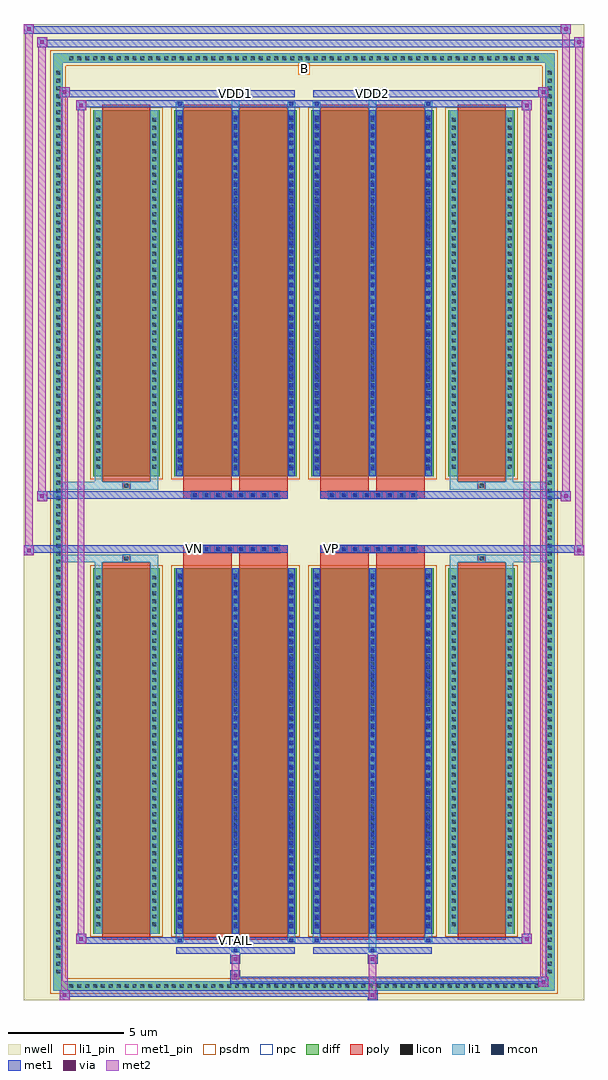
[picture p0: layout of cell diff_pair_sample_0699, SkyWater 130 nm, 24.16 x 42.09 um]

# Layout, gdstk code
import gdstk
lib = gdstk.Library(unit=1e-6, precision=5e-09)
def R(c, l, rs):  # rectangles x0, y0, x1, y1
    for r in rs: c.add(gdstk.rectangle(r[:2], r[2:], *l))
def A(c, l, x, y, w, h, nx, ny, dx, dy):  # array of equal rectangles
    R(c, l, [(x+i*dx, y+j*dy, x+i*dx+w, y+j*dy+h) for i in range(nx) for j in range(ny)])
def P(c, l, *ps):  # polygons
    for p in ps: c.add(gdstk.Polygon(p, *l))
nwell = (64, 20)
diff = (65, 20)
poly = (66, 20)
licon = (66, 44)
li1_pin = (67, 16)
li1 = (67, 20)
mcon = (67, 44)
met1_pin = (68, 16)
met1 = (68, 20)
via = (68, 44)
met2 = (69, 20)
psdm = (94, 20)
npc = (95, 20)

diff_pair_sample_0699 = lib.new_cell('diff_pair_sample_0699')
R(diff_pair_sample_0699, nwell, [(-12.08,-20.61,12.08,21.48), (-9.4,-18.8,-0.01,-0.8), (0.01,-18.8,9.4,-0.8), (-9.4,0.8,-0.01,18.8), (0.01,0.8,9.4,18.8)])
A(diff_pair_sample_0699, diff, -10.235, -20.21, 0.41, 0.41, 60, 2, 0.34, 40.01)
A(diff_pair_sample_0699, diff, -10.81, -19.585, 0.41, 0.41, 1, 115, 0, 0.34)
A(diff_pair_sample_0699, diff, 10.4, -19.585, 0.41, 0.41, 1, 115, 0, 0.34)
R(diff_pair_sample_0699, diff, [(-10.235,-20.21,10.235,-19.8), (-10.81,-19.585,-10.4,19.585), (10.4,-19.585,10.81,19.585), (-9.09,-17.755,-6.23,-1.985), (-5.59,-17.755,-0.32,-1.985), (0.32,-17.755,5.59,-1.985), (6.23,-17.755,9.09,-1.985), (-9.09,1.985,-6.23,17.755), (-5.59,1.985,-0.32,17.755), (0.32,1.985,5.59,17.755), (6.23,1.985,9.09,17.755), (-10.235,19.8,10.235,20.21)])
P(diff_pair_sample_0699, diff, [(10.81,20.21),(-10.81,20.21),(-10.81,-19.8),(-10.4,-19.8),(-10.4,19.8),(10.4,19.8),(10.4,-19.8),(-10.4,-19.8),(-10.81,-19.8),(-10.81,-20.21),(10.81,-20.21)])
A(diff_pair_sample_0699, poly, -4.87, -1.33, 0.33, 0.33, 8, 2, 0.5, 2.33)
A(diff_pair_sample_0699, poly, 1.04, -1.33, 0.33, 0.33, 8, 2, 0.5, 2.33)
R(diff_pair_sample_0699, poly, [(-8.7,-18.005,-6.62,-1.735), (-5.2,-18.005,-3.12,-1.735), (-2.79,-18.005,-0.71,-1.735), (0.71,-18.005,2.79,-1.735), (3.12,-18.005,5.2,-1.735), (6.62,-18.005,8.7,-1.735), (-7.825,-1.735,-7.495,-1.405), (-7.825,-1.735,-7.495,-1.405), (-5.2,-1.735,-3.12,-1.33), (-2.79,-1.735,-0.71,-1.33), (0.71,-1.735,2.79,-1.33), (3.12,-1.735,5.2,-1.33), (7.495,-1.735,7.825,-1.405), (7.495,-1.735,7.825,-1.405), (-5.2,-1.33,-0.71,-1), (0.71,-1.33,5.2,-1), (-5.2,1,-0.71,1.33), (0.71,1,5.2,1.33), (-5.2,1.33,-3.12,1.735), (-2.79,1.33,-0.71,1.735), (0.71,1.33,2.79,1.735), (3.12,1.33,5.2,1.735), (-7.825,1.405,-7.495,1.735), (-7.825,1.405,-7.495,1.735), (7.495,1.405,7.825,1.735), (7.495,1.405,7.825,1.735), (-8.7,1.735,-6.62,18.005), (-5.2,1.735,-3.12,18.005), (-2.79,1.735,-0.71,18.005), (0.71,1.735,2.79,18.005), (3.12,1.735,5.2,18.005), (6.62,1.735,8.7,18.005)])
A(diff_pair_sample_0699, licon, -10.115, -20.09, 0.17, 0.17, 60, 2, 0.34, 40.01)
A(diff_pair_sample_0699, licon, -10.69, -19.465, 0.17, 0.17, 1, 115, 0, 0.34)
A(diff_pair_sample_0699, licon, 10.52, -19.465, 0.17, 0.17, 1, 115, 0, 0.34)
A(diff_pair_sample_0699, licon, -8.95, -17.435, 0.17, 0.17, 1, 45, 0, 0.34)
A(diff_pair_sample_0699, licon, -6.54, -17.435, 0.17, 0.17, 1, 45, 0, 0.34)
A(diff_pair_sample_0699, licon, -5.45, -17.435, 0.17, 0.17, 3, 45, 2.41, 0.34)
A(diff_pair_sample_0699, licon, 0.46, -17.435, 0.17, 0.17, 3, 45, 2.41, 0.34)
A(diff_pair_sample_0699, licon, 6.37, -17.435, 0.17, 0.17, 1, 45, 0, 0.34)
A(diff_pair_sample_0699, licon, 8.78, -17.435, 0.17, 0.17, 1, 45, 0, 0.34)
A(diff_pair_sample_0699, licon, -4.79, -1.25, 0.17, 0.17, 8, 2, 0.5, 2.33)
A(diff_pair_sample_0699, licon, 1.12, -1.25, 0.17, 0.17, 8, 2, 0.5, 2.33)
A(diff_pair_sample_0699, licon, -8.95, 2.305, 0.17, 0.17, 1, 45, 0, 0.34)
A(diff_pair_sample_0699, licon, -6.54, 2.305, 0.17, 0.17, 1, 45, 0, 0.34)
A(diff_pair_sample_0699, licon, -5.45, 2.305, 0.17, 0.17, 3, 45, 2.41, 0.34)
A(diff_pair_sample_0699, licon, 0.46, 2.305, 0.17, 0.17, 3, 45, 2.41, 0.34)
A(diff_pair_sample_0699, licon, 6.37, 2.305, 0.17, 0.17, 1, 45, 0, 0.34)
A(diff_pair_sample_0699, licon, 8.78, 2.305, 0.17, 0.17, 1, 45, 0, 0.34)
R(diff_pair_sample_0699, licon, [(-7.745,-1.655,-7.575,-1.485), (7.575,-1.655,7.745,-1.485), (-7.745,1.485,-7.575,1.655), (7.575,1.485,7.745,1.655)])
R(diff_pair_sample_0699, li1_pin, [(-0.25,19.3,0.25,19.8)])
A(diff_pair_sample_0699, li1, -10.195, -20.17, 0.33, 0.33, 60, 2, 0.34, 40.01)
A(diff_pair_sample_0699, li1, -10.77, -19.545, 0.33, 0.33, 1, 115, 0, 0.34)
A(diff_pair_sample_0699, li1, 10.44, -19.545, 0.33, 0.33, 1, 115, 0, 0.34)
A(diff_pair_sample_0699, li1, -5.53, -17.755, 0.33, 15.77, 3, 2, 2.41, 19.74)
A(diff_pair_sample_0699, li1, 0.38, -17.755, 0.33, 15.77, 3, 2, 2.41, 19.74)
A(diff_pair_sample_0699, li1, -9.03, -17.515, 0.33, 0.33, 1, 45, 0, 0.34)
A(diff_pair_sample_0699, li1, -6.62, -17.515, 0.33, 0.33, 1, 45, 0, 0.34)
A(diff_pair_sample_0699, li1, -5.53, -17.515, 0.33, 0.33, 3, 45, 2.41, 0.34)
A(diff_pair_sample_0699, li1, -5.45, -17.515, 0.17, 0.17, 3, 43, 2.41, 0.36)
A(diff_pair_sample_0699, li1, -5.45, -17.515, 0.17, 15.29, 3, 2, 2.41, 19.74)
A(diff_pair_sample_0699, li1, 0.38, -17.515, 0.33, 0.33, 3, 45, 2.41, 0.34)
A(diff_pair_sample_0699, li1, 0.46, -17.515, 0.17, 0.17, 3, 43, 2.41, 0.36)
A(diff_pair_sample_0699, li1, 0.46, -17.515, 0.17, 15.29, 3, 2, 2.41, 19.74)
A(diff_pair_sample_0699, li1, 6.29, -17.515, 0.33, 0.33, 1, 45, 0, 0.34)
A(diff_pair_sample_0699, li1, 8.7, -17.515, 0.33, 0.33, 1, 45, 0, 0.34)
A(diff_pair_sample_0699, li1, -4.87, -1.33, 0.33, 0.33, 8, 2, 0.5, 2.33)
A(diff_pair_sample_0699, li1, 1.04, -1.33, 0.33, 0.33, 8, 2, 0.5, 2.33)
A(diff_pair_sample_0699, li1, -9.03, 2.225, 0.33, 0.33, 1, 45, 0, 0.34)
A(diff_pair_sample_0699, li1, -6.62, 2.225, 0.33, 0.33, 1, 45, 0, 0.34)
A(diff_pair_sample_0699, li1, -5.53, 2.225, 0.33, 0.33, 3, 45, 2.41, 0.34)
A(diff_pair_sample_0699, li1, -5.45, 2.225, 0.17, 0.17, 3, 43, 2.41, 0.36)
A(diff_pair_sample_0699, li1, 0.38, 2.225, 0.33, 0.33, 3, 45, 2.41, 0.34)
A(diff_pair_sample_0699, li1, 0.46, 2.225, 0.17, 0.17, 3, 43, 2.41, 0.36)
A(diff_pair_sample_0699, li1, 6.29, 2.225, 0.33, 0.33, 1, 45, 0, 0.34)
A(diff_pair_sample_0699, li1, 8.7, 2.225, 0.33, 0.33, 1, 45, 0, 0.34)
R(diff_pair_sample_0699, li1, [(-10.81,-20.21,-10.4,-19.8), (-10.81,-20.21,-10.4,-19.8), (-10.4,-20.21,10.4,-19.8), (10.4,-20.21,10.81,-19.8), (10.4,-20.21,10.81,-19.8), (-10.81,-19.8,-10.4,19.8), (10.4,-19.8,10.81,19.8), (-3.12,-18.56,-2.79,-17.755), (-3.04,-18.56,-2.87,-18.39), (2.79,-18.56,3.12,-17.755), (2.87,-18.56,3.04,-18.39), (-5.53,-18.13,-5.2,-17.755), (-5.45,-18.13,-5.28,-17.96), (-0.71,-18.13,-0.38,-17.755), (-0.63,-18.13,-0.46,-17.96), (0.38,-18.13,0.71,-17.755), (0.46,-18.13,0.63,-17.96), (5.2,-18.13,5.53,-17.755), (5.28,-18.13,5.45,-17.96), (-9.03,-17.755,-8.7,-1.985), (-6.62,-17.755,-6.29,-1.985), (6.29,-17.755,6.62,-1.985), (8.7,-17.755,9.03,-1.985), (-9.03,-1.985,-8.7,-1.405), (-6.62,-1.985,-6.29,-1.405), (6.29,-1.985,6.62,-1.405), (8.7,-1.985,9.03,-1.405), (-10.81,-1.735,-7.825,-1.405), (-9.03,-1.735,-7.825,-1.405), (-7.825,-1.735,-7.495,-1.405), (-7.495,-1.735,-6.29,-1.405), (6.29,-1.735,7.495,-1.405), (7.495,-1.735,7.825,-1.405), (7.495,-1.735,10.81,-1.405), (7.825,-1.735,9.03,-1.405), (-10.81,1.405,-7.825,1.735), (-9.03,1.405,-7.825,1.735), (-9.03,1.405,-8.7,1.985), (-7.825,1.405,-7.495,1.735), (-7.495,1.405,-6.29,1.735), (-6.62,1.405,-6.29,1.985), (6.29,1.405,7.495,1.735), (6.29,1.405,6.62,1.985), (7.495,1.405,7.825,1.735), (7.495,1.405,10.81,1.735), (7.825,1.405,9.03,1.735), (8.7,1.405,9.03,1.985), (-9.03,1.985,-8.7,17.755), (-6.62,1.985,-6.29,17.755), (6.29,1.985,6.62,17.755), (8.7,1.985,9.03,17.755), (-5.53,17.755,-5.2,18.13), (-3.12,17.755,-2.79,18.56), (-0.71,17.755,-0.38,18.13), (0.38,17.755,0.71,18.13), (2.79,17.755,3.12,18.56), (5.2,17.755,5.53,18.13), (-5.45,17.96,-5.28,18.13), (-0.63,17.96,-0.46,18.13), (0.46,17.96,0.63,18.13), (5.28,17.96,5.45,18.13), (-3.04,18.39,-2.87,18.56), (2.87,18.39,3.04,18.56), (-10.81,19.8,-10.4,20.21), (-10.81,19.8,-10.4,20.21), (-10.4,19.8,10.4,20.21), (10.4,19.8,10.81,20.21), (10.4,19.8,10.81,20.21)])
A(diff_pair_sample_0699, mcon, -5.45, -17.515, 0.17, 0.17, 3, 43, 2.41, 0.36)
A(diff_pair_sample_0699, mcon, 0.46, -17.515, 0.17, 0.17, 3, 43, 2.41, 0.36)
A(diff_pair_sample_0699, mcon, -4.79, -1.25, 0.17, 0.17, 8, 2, 0.5, 2.33)
A(diff_pair_sample_0699, mcon, 1.12, -1.25, 0.17, 0.17, 8, 2, 0.5, 2.33)
A(diff_pair_sample_0699, mcon, -5.45, 2.225, 0.17, 0.17, 3, 43, 2.41, 0.36)
A(diff_pair_sample_0699, mcon, 0.46, 2.225, 0.17, 0.17, 3, 43, 2.41, 0.36)
R(diff_pair_sample_0699, mcon, [(-3.04,-18.56,-2.87,-18.39), (2.87,-18.56,3.04,-18.39), (-5.45,-18.13,-5.28,-17.96), (-0.63,-18.13,-0.46,-17.96), (0.46,-18.13,0.63,-17.96), (5.28,-18.13,5.45,-17.96), (-5.45,17.96,-5.28,18.13), (-0.63,17.96,-0.46,18.13), (0.46,17.96,0.63,18.13), (5.28,17.96,5.45,18.13), (-3.04,18.39,-2.87,18.56), (2.87,18.39,3.04,18.56)])
R(diff_pair_sample_0699, met1_pin, [(-3.09,-18.17,-2.82,-17.9), (-4.84,-1.29,-4.57,-1.02), (1.07,-1.29,1.34,-1.02), (-3.09,18.35,-2.82,18.62), (2.82,18.35,3.09,18.62)])
A(diff_pair_sample_0699, met1, -5.51, -17.755, 0.29, 15.77, 3, 2, 2.41, 19.74)
A(diff_pair_sample_0699, met1, 0.4, -17.755, 0.29, 15.77, 3, 2, 2.41, 19.74)
A(diff_pair_sample_0699, met1, -5.51, -17.575, 0.29, 0.29, 3, 43, 2.41, 0.36)
A(diff_pair_sample_0699, met1, 0.4, -17.575, 0.29, 0.29, 3, 43, 2.41, 0.36)
A(diff_pair_sample_0699, met1, -4.85, -1.31, 0.29, 0.29, 8, 2, 0.5, 2.33)
A(diff_pair_sample_0699, met1, 1.06, -1.31, 0.29, 0.29, 8, 2, 0.5, 2.33)
A(diff_pair_sample_0699, met1, -5.51, 2.165, 0.29, 0.29, 3, 43, 2.41, 0.36)
A(diff_pair_sample_0699, met1, 0.4, 2.165, 0.29, 0.29, 3, 43, 2.41, 0.36)
R(diff_pair_sample_0699, met1, [(-10.54,-20.61,-10.11,-20.18), (2.74,-20.61,3.17,-20.18), (-10.54,-20.47,3.17,-20.18), (10.11,-20.04,10.54,-19.61), (-3.17,-19.9,10.54,-19.61), (-3.17,-19.76,-2.74,-19.33), (-3.17,-19.05,-2.74,-18.62), (2.74,-19.05,3.17,-18.62), (-5.51,-18.62,-0.4,-18.33), (-3.1,-18.62,-2.81,-18.33), (0.4,-18.62,5.51,-18.33), (2.81,-18.62,3.1,-18.33), (-9.83,-18.19,-9.4,-17.76), (-9.83,-18.19,-5.51,-17.9), (-5.51,-18.19,-5.22,-17.9), (-5.51,-18.19,-0.4,-17.9), (-0.69,-18.19,-0.4,-17.9), (-0.4,-18.19,0.4,-17.9), (0.4,-18.19,0.69,-17.9), (0.4,-18.19,5.51,-17.9), (5.22,-18.19,5.51,-17.9), (5.51,-18.19,9.83,-17.9), (9.4,-18.19,9.83,-17.76), (-12.08,-1.43,-11.65,-1), (11.65,-1.43,12.08,-1), (-12.08,-1.33,-0.71,-1), (-5.2,-1.33,-0.71,-1), (0.71,-1.33,5.2,-1), (0.71,-1.33,12.08,-1), (-11.51,0.9,-11.08,1.33), (11.08,0.9,11.51,1.33), (-11.51,1,-5.2,1.33), (-5.2,1,-0.71,1.33), (0.71,1,5.2,1.33), (5.2,1,11.51,1.33), (-9.83,17.76,-9.4,18.19), (9.4,17.76,9.83,18.19), (-9.83,17.9,-5.51,18.19), (-5.51,17.9,-5.22,18.19), (-5.51,17.9,-0.4,18.19), (-0.69,17.9,-0.4,18.19), (-0.4,17.9,0.4,18.19), (0.4,17.9,0.69,18.19), (0.4,17.9,5.51,18.19), (5.22,17.9,5.51,18.19), (5.51,17.9,9.83,18.19), (-10.54,18.33,-10.11,18.76), (-10.54,18.33,-5.51,18.62), (-5.51,18.33,-0.4,18.62), (-3.1,18.33,-2.81,18.62), (0.4,18.33,5.51,18.62), (2.81,18.33,3.1,18.62), (5.51,18.33,10.54,18.62), (10.11,18.33,10.54,18.76), (-11.51,20.48,-11.08,20.91), (-11.51,20.48,-9.4,20.81), (-9.4,20.48,9.4,20.81), (9.4,20.48,12.08,20.81), (11.65,20.48,12.08,20.91), (-12.08,21.05,-11.65,21.48), (-12.08,21.05,-9.4,21.38), (-9.4,21.05,9.4,21.38), (9.4,21.05,11.51,21.38), (11.08,21.05,11.51,21.48)])
R(diff_pair_sample_0699, via, [(-10.4,-20.47,-10.25,-20.32), (2.88,-20.47,3.03,-20.32), (10.25,-19.9,10.4,-19.75), (-3.03,-19.62,-2.88,-19.47), (-3.03,-18.91,-2.88,-18.76), (2.88,-18.91,3.03,-18.76), (-9.69,-18.05,-9.54,-17.9), (9.54,-18.05,9.69,-17.9), (-11.94,-1.29,-11.79,-1.14), (11.79,-1.29,11.94,-1.14), (-11.37,1.04,-11.22,1.19), (11.22,1.04,11.37,1.19), (-9.69,17.9,-9.54,18.05), (9.54,17.9,9.69,18.05), (-10.4,18.47,-10.25,18.62), (10.25,18.47,10.4,18.62), (-11.37,20.62,-11.22,20.77), (11.79,20.62,11.94,20.77), (-11.94,21.19,-11.79,21.34), (11.22,21.19,11.37,21.34)])
R(diff_pair_sample_0699, met2, [(-10.54,-20.61,-10.11,-20.18), (-10.47,-20.61,-10.18,18.76), (-10.18,-20.61,-10.11,-20.18), (-10.49,-20.56,-10.16,-20.23), (2.79,-20.56,3.12,-20.23), (2.79,-20.23,3.12,-19), (10.11,-20.04,10.54,-19.61), (10.18,-20.04,10.47,18.76), (10.47,-20.04,10.54,-19.61), (10.16,-19.99,10.49,-19.66), (-3.12,-19.71,-2.79,-19.38), (-3.12,-19.38,-2.79,-19), (-3.12,-19,-2.79,-18.67), (2.79,-19,3.12,-18.67), (-9.83,-18.19,-9.4,-17.76), (-9.76,-18.19,-9.47,18.19), (-9.47,-18.19,-9.4,-17.76), (9.4,-18.19,9.83,-17.76), (9.47,-18.19,9.76,18.19), (9.76,-18.19,9.83,-17.76), (-9.78,-18.14,-9.45,-17.81), (9.45,-18.14,9.78,-17.81), (-12.08,-1.43,-11.65,-1), (-12.03,-1.43,-11.7,21.48), (-11.7,-1.43,-11.65,-1), (11.65,-1.43,12.08,-1), (11.7,-1.43,12.03,20.91), (12.03,-1.43,12.08,-1), (-12.03,-1.38,-11.7,-1.05), (11.7,-1.38,12.03,-1.05), (-11.51,0.9,-11.08,1.33), (-11.46,0.9,-11.13,20.91), (-11.13,0.9,-11.08,1.33), (11.08,0.9,11.51,1.33), (11.13,0.9,11.46,21.48), (11.46,0.9,11.51,1.33), (-11.46,0.95,-11.13,1.28), (11.13,0.95,11.46,1.28), (-9.83,17.76,-9.4,18.19), (-9.47,17.76,-9.4,18.19), (9.4,17.76,9.83,18.19), (9.76,17.76,9.83,18.19), (-9.78,17.81,-9.45,18.14), (9.45,17.81,9.78,18.14), (-10.54,18.33,-10.11,18.76), (-10.18,18.33,-10.11,18.76), (10.11,18.33,10.54,18.76), (10.47,18.33,10.54,18.76), (-10.49,18.38,-10.16,18.71), (10.16,18.38,10.49,18.71), (-11.51,20.48,-11.08,20.91), (-11.13,20.48,-11.08,20.91), (11.65,20.48,12.08,20.91), (12.03,20.48,12.08,20.91), (-11.46,20.53,-11.13,20.86), (11.7,20.53,12.03,20.86), (-12.08,21.05,-11.65,21.48), (-11.7,21.05,-11.65,21.48), (11.08,21.05,11.51,21.48), (11.46,21.05,11.51,21.48), (-12.03,21.1,-11.7,21.43), (11.13,21.1,11.46,21.43)])
R(diff_pair_sample_0699, psdm, [(-9.22,-17.885,-6.1,-1.855), (-5.72,-17.885,-0.19,-1.855), (0.19,-17.885,5.72,-1.855), (6.1,-17.885,9.22,-1.855), (-9.22,1.855,-6.1,17.885), (-5.72,1.855,-0.19,17.885), (0.19,1.855,5.72,17.885), (6.1,1.855,9.22,17.885)])
P(diff_pair_sample_0699, psdm, [(10.94,20.34),(-10.94,20.34),(-10.94,-19.67),(-10.27,-19.67),(-10.27,19.67),(10.27,19.67),(10.27,-19.67),(-10.27,-19.67),(-10.94,-19.67),(-10.94,-20.34),(10.94,-20.34)])
A(diff_pair_sample_0699, npc, -4.89, -1.35, 0.37, 0.37, 8, 2, 0.5, 2.33)
A(diff_pair_sample_0699, npc, 1.02, -1.35, 0.37, 0.37, 8, 2, 0.5, 2.33)
R(diff_pair_sample_0699, npc, [(-7.845,-1.755,-7.475,-1.385), (7.475,-1.755,7.845,-1.385), (-4.89,-1.35,-4.02,-0.98), (-4.89,-1.35,-4.02,-0.98), (-4.39,-1.35,-3.52,-0.98), (-4.39,-1.35,-3.52,-0.98), (-3.89,-1.35,-3.02,-0.98), (-3.89,-1.35,-3.02,-0.98), (-3.39,-1.35,-2.52,-0.98), (-3.39,-1.35,-2.52,-0.98), (-2.89,-1.35,-2.02,-0.98), (-2.89,-1.35,-2.02,-0.98), (-2.39,-1.35,-1.52,-0.98), (-2.39,-1.35,-1.52,-0.98), (-1.89,-1.35,-1.02,-0.98), (-1.89,-1.35,-1.02,-0.98), (1.02,-1.35,1.89,-0.98), (1.02,-1.35,1.89,-0.98), (1.52,-1.35,2.39,-0.98), (1.52,-1.35,2.39,-0.98), (2.02,-1.35,2.89,-0.98), (2.02,-1.35,2.89,-0.98), (2.52,-1.35,3.39,-0.98), (2.52,-1.35,3.39,-0.98), (3.02,-1.35,3.89,-0.98), (3.02,-1.35,3.89,-0.98), (3.52,-1.35,4.39,-0.98), (3.52,-1.35,4.39,-0.98), (4.02,-1.35,4.89,-0.98), (4.02,-1.35,4.89,-0.98), (-4.89,0.98,-4.02,1.35), (-4.89,0.98,-4.02,1.35), (-4.39,0.98,-3.52,1.35), (-4.39,0.98,-3.52,1.35), (-3.89,0.98,-3.02,1.35), (-3.89,0.98,-3.02,1.35), (-3.39,0.98,-2.52,1.35), (-3.39,0.98,-2.52,1.35), (-2.89,0.98,-2.02,1.35), (-2.89,0.98,-2.02,1.35), (-2.39,0.98,-1.52,1.35), (-2.39,0.98,-1.52,1.35), (-1.89,0.98,-1.02,1.35), (-1.89,0.98,-1.02,1.35), (1.02,0.98,1.89,1.35), (1.02,0.98,1.89,1.35), (1.52,0.98,2.39,1.35), (1.52,0.98,2.39,1.35), (2.02,0.98,2.89,1.35), (2.02,0.98,2.89,1.35), (2.52,0.98,3.39,1.35), (2.52,0.98,3.39,1.35), (3.02,0.98,3.89,1.35), (3.02,0.98,3.89,1.35), (3.52,0.98,4.39,1.35), (3.52,0.98,4.39,1.35), (4.02,0.98,4.89,1.35), (4.02,0.98,4.89,1.35), (-7.845,1.385,-7.475,1.755), (7.475,1.385,7.845,1.755)])
diff_pair_sample_0699.add(gdstk.Label('VTAIL', (-2.955,-18.035), layer=68, texttype=5))
diff_pair_sample_0699.add(gdstk.Label('VN', (-4.705,-1.155), layer=68, texttype=5))
diff_pair_sample_0699.add(gdstk.Label('VP', (1.205,-1.155), layer=68, texttype=5))
diff_pair_sample_0699.add(gdstk.Label('B', (0,19.55), layer=67, texttype=5))
diff_pair_sample_0699.add(gdstk.Label('VDD2', (2.955,18.485), layer=68, texttype=5))
diff_pair_sample_0699.add(gdstk.Label('VDD1', (-2.955,18.485), layer=68, texttype=5))

lib.write_gds('diff_pair_sample_0699.gds')
